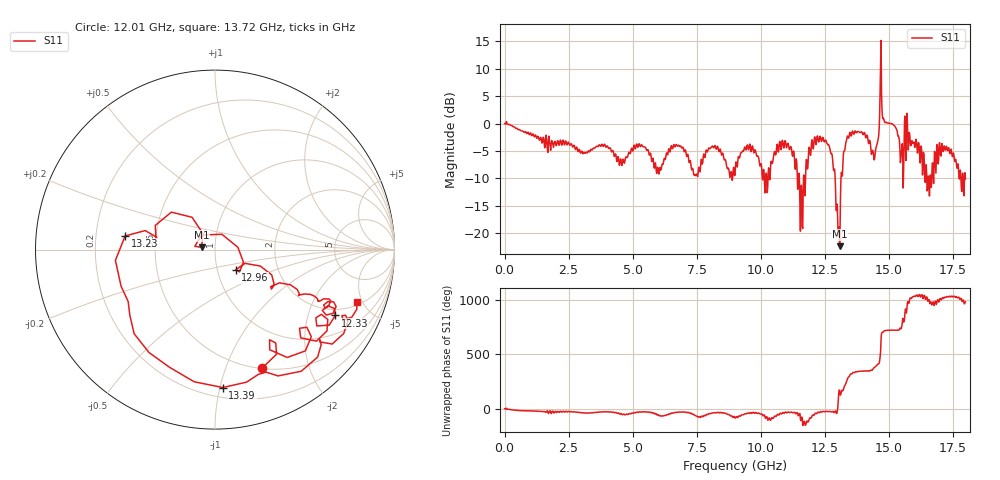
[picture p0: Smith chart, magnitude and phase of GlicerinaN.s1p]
!Keysight Technologies N9917A: A.12.46
!Date: Friday, 22 December 2023 20:19:21
!TimeZone: (UTC-03:00) Buenos Aires!Model: N9917A
!Serial: MY56072049
!GPS Latitude:
!GPS Longitude:
!GPS TimeStamp: 0001-01-01 00:00:00Z
!GPS Seconds Since Last Read: 0
!CHECKSUM:0345899404
!Correction: S11(ON U)
!S1P File: Measurement: S11:
# Hz S RI R 50
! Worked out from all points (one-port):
!   1001 points, 30 kHz to 18 GHz, reference 50 ohm
!   lowest |S11| = -22.4 dB at 13.09 GHz (marker M1), VSWR 1.17, Z = 43 + j1.11 ohm
!   |S11| at or under -10 dB: 11.51 GHz to 11.68 GHz (166.9 MHz wide, 1.44 % of centre); 11.69709 GHz to 11.75497 GHz (57.88 MHz wide, 0.494 % of centre); 12.91 GHz to 13.14 GHz (227 MHz wide, 1.74 % of centre)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
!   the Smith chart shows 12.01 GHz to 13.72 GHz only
!   S11 on the Smith chart (normalised r, x): 12.01 GHz: 0.50, -1.35; 12.33 GHz: 1.71, -3.02; 12.96 GHz: 1.22, -0.28; 13.23 GHz: 0.33, +0.07; 13.39 GHz: 0.27, -1.02; 13.72 GHz: 2.27, -4.52
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30000  0.9985 -0.000432
2.250026e9  0.5644 -0.3426
4.500022e9  0.2766 -0.3308
6.750019e9  0.5235 -0.3354
9.000015e9  0.0388 -0.337
1.125001e10  0.4 -0.3059
1.175401e10  -0.2763 -0.1425
1.200601e10  0.262 -0.6606
1.233001e10  0.6706 -0.3667
1.296001e10  0.1149 -0.1125
1.308601e10  -0.0752 0.0129
1.323001e10  -0.5007 0.076
1.339201e10  0.0436 -0.7684
1.350001e10  0.5717 -0.599
1.371601e10  0.7897 -0.2906
1.431001e10  0.5716 -0.0544
1.456201e10  0.4621 0.4798
1.459801e10  0.4706 0.5603
1.461601e10  0.4856 0.6253
1.479601e10  1.086 -0.2648
1.488601e10  1.02 -0.0504
1.5336e10  0.8532 0.027
1.5552e10  -0.1815 0.5109
1.575e10  -0.0871 -0.7254
1.611e10  0.4963 -0.3468
1.6704e10  -0.2303 -0.3665
1.737e10  0.3875 -0.4124
1.8e10  -0.0487 -0.3092
